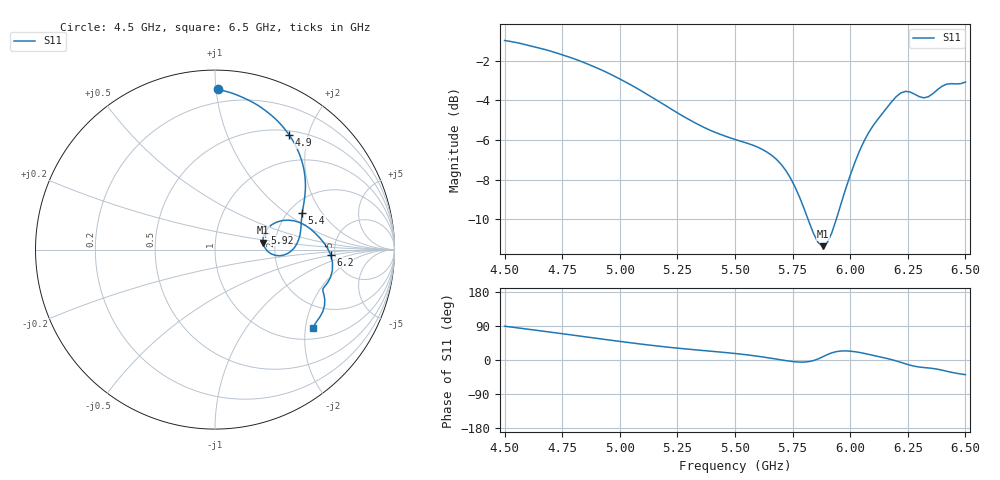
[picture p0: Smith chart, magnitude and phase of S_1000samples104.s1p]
! TOUCHSTONE file generated by CST MICROWAVE STUDIO
! Date and time: Thu Oct 27 00:21:50 2022
! Project name: L.cst
! Parameters = {Di=1.27; Epsilon_r=1.56; InnerDiameter=1.27; Length=2; Lf=10; Lg=60; OuterConductorThickness=0.2921; OuterDiameter=3.6; Wf=3; Wp=41.2; de=1.5; df=6.8; g=0.8; gx=0.460123; gy=4.3619; h=2.34; hf=1.524; px=9.27149; py=14.5471; w=9.7; wx=8.81137; wy=10.1852}
! Header version: 2018
! Port assignment regex: !\s*Touchstone port\s*([0-9]+)\s*=\s*(CST MWS port|CST DS port)\s*([0-9]+|Zmin|Zmax)\s*\(\"(.*)\"\)(\s*mode\s*([0-9]+))?.*
! Touchstone port assignment:
! Touchstone port 1 = CST MWS port 1 ("")
# GHz S DB R 50
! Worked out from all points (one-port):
!   101 points, 4.5 GHz to 6.5 GHz, reference 50 ohm
!   lowest |S11| = -11.3 dB at 5.88 GHz (marker M1), VSWR 1.74, Z = 86.2 + j7.16 ohm
!   |S11| at or under -10 dB: 5.817 GHz to 5.94 GHz (122.3 MHz wide, 2.08 % of centre)
!   S11 on the Smith chart (normalised r, x): 4.5 GHz: 0.12, +1.01; 4.9 GHz: 0.56, +1.70; 5.4 GHz: 2.36, +1.34; 5.92 GHz: 1.72, +0.36; 6.2 GHz: 4.58, -0.43; 6.5 GHz: 1.28, -2.21
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4.5  -0.99 89.1
4.64  -1.35 78.3
4.76  -1.75 68.6
4.9  -2.37 57.2
5  -2.93 49.1
5.12  -3.72 40.0
5.26  -4.70 30.7
5.4  -5.55 22.9
5.5  -5.97 17.1
5.66  -6.78 4.3
5.76  -8.35 -4.6
5.82  -10.09 -4.3
5.86  -11.15 2.6
5.88  -11.35 8.2
5.92  -10.68 18.9
5.96  -9.22 23.7
6  -7.78 23.3
6.04  -6.57 20.0
6.08  -5.63 14.9
6.16  -4.37 4.0
6.2  -3.82 -2.5
6.22  -3.63 -6.2
6.26  -3.59 -13.6
6.32  -3.88 -19.9
6.36  -3.66 -22.4
6.4  -3.29 -27.0
6.44  -3.17 -32.6
6.5  -3.08 -38.7
